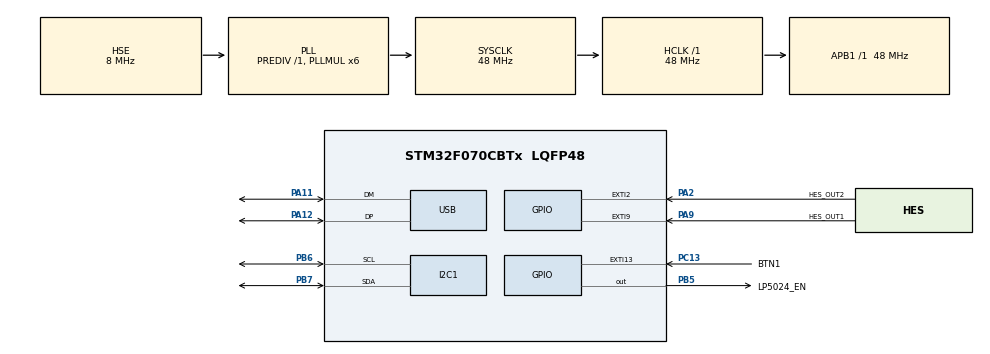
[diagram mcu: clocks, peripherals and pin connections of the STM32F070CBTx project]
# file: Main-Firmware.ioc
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Mcu.Family=STM32F0
Mcu.Name=STM32F070CBTx
Mcu.Package=LQFP48
NVIC.EXTI4_15_IRQn=true\:1\:0\:true\:false\:true\:true\:true\:true
NVIC.I2C1_IRQn=true\:1\:0\:true\:false\:true\:true\:true\:true
NVIC.TIM6_IRQn=true\:2\:0\:true\:false\:true\:true\:true\:true
NVIC.USB_IRQn=true\:0\:0\:false\:false\:true\:true\:true\:true
PA11.Mode=Device
PA11.Signal=USB_DM
PA12.Mode=Device
PA12.Signal=USB_DP
PA13.Mode=Serial_Wire
PA13.Signal=SYS_SWDIO
PA14.Mode=Serial_Wire
PA14.Signal=SYS_SWCLK
PA2.GPIO_Label=HES_OUT2
PA2.GPIO_ModeDefaultEXTI=GPIO_MODE_IT_RISING
PA2.GPIO_PuPd=GPIO_PULLDOWN
PA2.Signal=GPXTI2
PA9.GPIO_Label=HES_OUT1
PA9.GPIO_PuPd=GPIO_PULLDOWN
PA9.Signal=GPXTI9
PB5.GPIO_Label=LP5024_EN
PB5.Signal=GPIO_Output
PB6.Mode=I2C
PB6.Signal=I2C1_SCL
PB7.Mode=I2C
PB7.Signal=I2C1_SDA
PC13.GPIO_Label=BTN1
PC13.GPIO_ModeDefaultEXTI=GPIO_MODE_IT_RISING_FALLING
PC13.GPIO_PuPd=GPIO_PULLUP
PC13.Signal=GPXTI13
PF0-OSC_IN.Mode=HSE-External-Oscillator
PF0-OSC_IN.Signal=RCC_OSC_IN
PF1-OSC_OUT.Mode=HSE-External-Oscillator
PF1-OSC_OUT.Signal=RCC_OSC_OUT
ProjectManager.HeapSize=0x200
ProjectManager.StackSize=0x400
ProjectManager.TargetToolchain=STM32CubeIDE
RCC.AHBFreq_Value=48000000
RCC.APB1Freq_Value=48000000
RCC.APB1TimFreq_Value=48000000
RCC.HCLKFreq_Value=48000000
RCC.PLLMUL=RCC_PLL_MUL6
RCC.SYSCLKFreq_VALUE=48000000
RCC.SYSCLKSource=RCC_SYSCLKSOURCE_PLLCLK
TIM6.AutoReloadPreload=TIM_AUTORELOAD_PRELOAD_DISABLE
TIM6.Period=166
TIM6.Prescaler=1599
USB_DEVICE.CLASS_NAME_FS=CUSTOM_HID
USB_DEVICE.MANUFACTURER_STRING=Kryofox
USB_DEVICE.PID_CUSTOMHID_FS=22555 
USB_DEVICE.PRODUCT_STRING_CUSTOMHID_FS=Kryofox Rage Quit Button
USB_DEVICE.USBD_CUSTOMHID_OUTREPORT_BUF_SIZE=32
USB_DEVICE.USBD_CUSTOM_HID_REPORT_DESC_SIZE=55
USB_DEVICE.VirtualMode=CustomHid
USB_DEVICE.VirtualModeFS=Custom_Hid_FS
VP_TIM6_VS_ClockSourceINT.Mode=Enable_Timer
VP_USB_DEVICE_VS_USB_DEVICE_CUSTOM_HID_FS.Mode=CUSTOM_HID_FS
board=custom

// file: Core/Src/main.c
/* USER CODE BEGIN Header */
/**
  ******************************************************************************
  * @file           : main.c
  * @brief          : Main program body
  ******************************************************************************
  * @attention
  *
  * Copyright (c) 2023 STMicroelectronics.
  * All rights reserved.
  *
  * This software is licensed under terms that can be found in the LICENSE file
  * in the root directory of this software component.
  * If no LICENSE file comes with this software, it is provided AS-IS.
  *
  ******************************************************************************
  */
/* USER CODE END Header */
#include "main.h"
#include "usb_device.h"

/* USER CODE BEGIN Includes */
#include <stdbool.h>

#include "usbd_custom_hid_if.h"
#include "buttonHandler.h"
#include "LP5024_Driver.h"
#include "LED_Handler.h"
/* USER CODE END Includes */

/* USER CODE BEGIN PTD */
  #define BTN_PRESS_CMD "btn"
  #define SETT_REQ_CMD "req"
/* USER CODE END PTD */

I2C_HandleTypeDef hi2c1;

TIM_HandleTypeDef htim6;

/* USER CODE BEGIN PV */
uint8_t tx_buffer[64];		//Variable to store the output data
uint8_t report_buffer[64];		//Variable to receive the report buffer

volatile bool btn_flag = true;
volatile bool hse_flag = true;

volatile bool flag_rx = false;	//Variable to store the reception flag
volatile bool flag_settingReq = false;
volatile bool flag_btnLight = false;
volatile uint16_t reqSettingCnt = 0;
volatile bool settingsLoaded = false;
volatile bool update_led = false;

//extern the USB handler
extern USBD_HandleTypeDef hUsbDeviceFS;
/* USER CODE END PV */

void SystemClock_Config(void);
static void MX_GPIO_Init(void);
static void MX_I2C1_Init(void);
static void MX_TIM6_Init(void);

int main(void)
{

  /* MCU Configuration--------------------------------------------------------*/

  /* Reset of all peripherals, Initializes the Flash interface and the Systick. */
  HAL_Init();

  /* Configure the system clock */
  SystemClock_Config();

  /* Initialize all configured peripherals */
  MX_GPIO_Init();
  MX_USB_DEVICE_Init();
  MX_I2C1_Init();
  MX_TIM6_Init();
  /* USER CODE BEGIN 2 */
  HAL_GPIO_WritePin(LP5024_EN_GPIO_Port, LP5024_EN_Pin, GPIO_PIN_SET);
  HAL_Delay(500); // Delay of 0.5 second
  LP5024_Init();

  /* Start TIM2 */
  HAL_TIM_Base_Start_IT(&htim6);
  /* USER CODE END 2 */

  /* Infinite loop */
  /* USER CODE BEGIN WHILE */
  while (1)
  {
    //CheckButtonHoldStatus();

    if(flag_settingReq){
      tx_buffer[0] = '\0';
      memcpy(tx_buffer, SETT_REQ_CMD, sizeof(SETT_REQ_CMD));
      USBD_CUSTOM_HID_SendReport(&hUsbDeviceFS, tx_buffer, sizeof(tx_buffer));
      flag_settingReq = false;
    }

    if(flag_btnLight)
    {
    	activeLightingConfig = &buttonPressLightingConfig;
    }
    else if(!hse_flag)
    {
    	activeLightingConfig = &lidLiftLightingConfig;
    }
    else
    {
    	activeLightingConfig = &idleLightingConfig;
    }

	if (update_led) {

		LightingHandler();

		// Reset flag
		update_led = false;

		if(reqSettingCnt > 180)
		{
			flag_settingReq = true;
			reqSettingCnt = 0;
		}
	}
    /* USER CODE END WHILE */

  }
}

void SystemClock_Config(void)
{
  RCC_OscInitTypeDef RCC_OscInitStruct = {0};
  RCC_ClkInitTypeDef RCC_ClkInitStruct = {0};
  RCC_PeriphCLKInitTypeDef PeriphClkInit = {0};

  /** Initializes the RCC Oscillators according to the specified parameters
  * in the RCC_OscInitTypeDef structure.
  */
  RCC_OscInitStruct.OscillatorType = RCC_OSCILLATORTYPE_HSI|RCC_OSCILLATORTYPE_HSE;
  RCC_OscInitStruct.HSEState = RCC_HSE_ON;
  RCC_OscInitStruct.HSIState = RCC_HSI_ON;
  RCC_OscInitStruct.HSICalibrationValue = RCC_HSICALIBRATION_DEFAULT;
  RCC_OscInitStruct.PLL.PLLState = RCC_PLL_ON;
  RCC_OscInitStruct.PLL.PLLSource = RCC_PLLSOURCE_HSE;
  RCC_OscInitStruct.PLL.PLLMUL = RCC_PLL_MUL6;
  RCC_OscInitStruct.PLL.PREDIV = RCC_PREDIV_DIV1;
  if (HAL_RCC_OscConfig(&RCC_OscInitStruct) != HAL_OK)
  {
    Error_Handler();
  }

  /** Initializes the CPU, AHB and APB buses clocks
  */
  RCC_ClkInitStruct.ClockType = RCC_CLOCKTYPE_HCLK|RCC_CLOCKTYPE_SYSCLK
                              |RCC_CLOCKTYPE_PCLK1;
  RCC_ClkInitStruct.SYSCLKSource = RCC_SYSCLKSOURCE_PLLCLK;
  RCC_ClkInitStruct.AHBCLKDivider = RCC_SYSCLK_DIV1;
  RCC_ClkInitStruct.APB1CLKDivider = RCC_HCLK_DIV1;

  if (HAL_RCC_ClockConfig(&RCC_ClkInitStruct, FLASH_LATENCY_1) != HAL_OK)
  {
    Error_Handler();
  }
  PeriphClkInit.PeriphClockSelection = RCC_PERIPHCLK_USB|RCC_PERIPHCLK_I2C1;
  PeriphClkInit.I2c1ClockSelection = RCC_I2C1CLKSOURCE_HSI;
  PeriphClkInit.UsbClockSelection = RCC_USBCLKSOURCE_PLL;

  if (HAL_RCCEx_PeriphCLKConfig(&PeriphClkInit) != HAL_OK)
  {
    Error_Handler();
  }
}

static void MX_I2C1_Init(void)
{

  hi2c1.Instance = I2C1;
  hi2c1.Init.Timing = 0x2000090E;
  hi2c1.Init.OwnAddress1 = 0;
  hi2c1.Init.AddressingMode = I2C_ADDRESSINGMODE_7BIT;
  hi2c1.Init.DualAddressMode = I2C_DUALADDRESS_DISABLE;
  hi2c1.Init.OwnAddress2 = 0;
  hi2c1.Init.OwnAddress2Masks = I2C_OA2_NOMASK;
  hi2c1.Init.GeneralCallMode = I2C_GENERALCALL_DISABLE;
  hi2c1.Init.NoStretchMode = I2C_NOSTRETCH_DISABLE;
  if (HAL_I2C_Init(&hi2c1) != HAL_OK)
  {
    Error_Handler();
  }

  /** Configure Analogue filter
  */
  if (HAL_I2CEx_ConfigAnalogFilter(&hi2c1, I2C_ANALOGFILTER_ENABLE) != HAL_OK)
  {
    Error_Handler();
  }

  /** Configure Digital filter
  */
  if (HAL_I2CEx_ConfigDigitalFilter(&hi2c1, 0) != HAL_OK)
  {
    Error_Handler();
  }

}

static void MX_TIM6_Init(void)
{

  htim6.Instance = TIM6;
  htim6.Init.Prescaler = 1599;
  htim6.Init.CounterMode = TIM_COUNTERMODE_UP;
  htim6.Init.Period = 166;
  htim6.Init.AutoReloadPreload = TIM_AUTORELOAD_PRELOAD_DISABLE;
  if (HAL_TIM_Base_Init(&htim6) != HAL_OK)
  {
    Error_Handler();
  }

}

static void MX_GPIO_Init(void)
{
  GPIO_InitTypeDef GPIO_InitStruct = {0};

  /* GPIO Ports Clock Enable */
  __HAL_RCC_GPIOC_CLK_ENABLE();
  __HAL_RCC_GPIOF_CLK_ENABLE();
  __HAL_RCC_GPIOA_CLK_ENABLE();
  __HAL_RCC_GPIOB_CLK_ENABLE();

  /*Configure GPIO pin Output Level */
  HAL_GPIO_WritePin(LP5024_EN_GPIO_Port, LP5024_EN_Pin, GPIO_PIN_RESET);

  /*Configure GPIO pin : BTN1_Pin */
  GPIO_InitStruct.Pin = BTN1_Pin;
  GPIO_InitStruct.Mode = GPIO_MODE_IT_RISING_FALLING;
  GPIO_InitStruct.Pull = GPIO_PULLUP;
  HAL_GPIO_Init(BTN1_GPIO_Port, &GPIO_InitStruct);

  /*Configure GPIO pins : HES_OUT2_Pin HES_OUT1_Pin */
  GPIO_InitStruct.Pin = HES_OUT2_Pin|HES_OUT1_Pin;
  GPIO_InitStruct.Mode = GPIO_MODE_IT_RISING;
  GPIO_InitStruct.Pull = GPIO_PULLDOWN;
  HAL_GPIO_Init(GPIOA, &GPIO_InitStruct);

  /*Configure GPIO pin : LP5024_EN_Pin */
  GPIO_InitStruct.Pin = LP5024_EN_Pin;
  GPIO_InitStruct.Mode = GPIO_MODE_OUTPUT_PP;
  GPIO_InitStruct.Pull = GPIO_NOPULL;
  GPIO_InitStruct.Speed = GPIO_SPEED_FREQ_LOW;
  HAL_GPIO_Init(LP5024_EN_GPIO_Port, &GPIO_InitStruct);

  /* EXTI interrupt init*/
  HAL_NVIC_SetPriority(EXTI4_15_IRQn, 1, 0);
  HAL_NVIC_EnableIRQ(EXTI4_15_IRQn);

}

/* USER CODE BEGIN 4 */
void HAL_TIM_PeriodElapsedCallback(TIM_HandleTypeDef *htim)
{
  /* Prevent unused argument(s) compilation warning */
  UNUSED(htim);

  /* NOTE : This function should not be modified, when the callback is needed,
            the HAL_TIM_PeriodElapsedCallback could be implemented in the user file
   */
	if(htim->Instance == TIM6){
		// Set flag to update LED
		update_led = true;

    if(!settingsLoaded)
      reqSettingCnt++;
	}
}
/* USER CODE END 4 */

void Error_Handler(void)
{
  __disable_irq();
  while (1)
  {
  }
}
